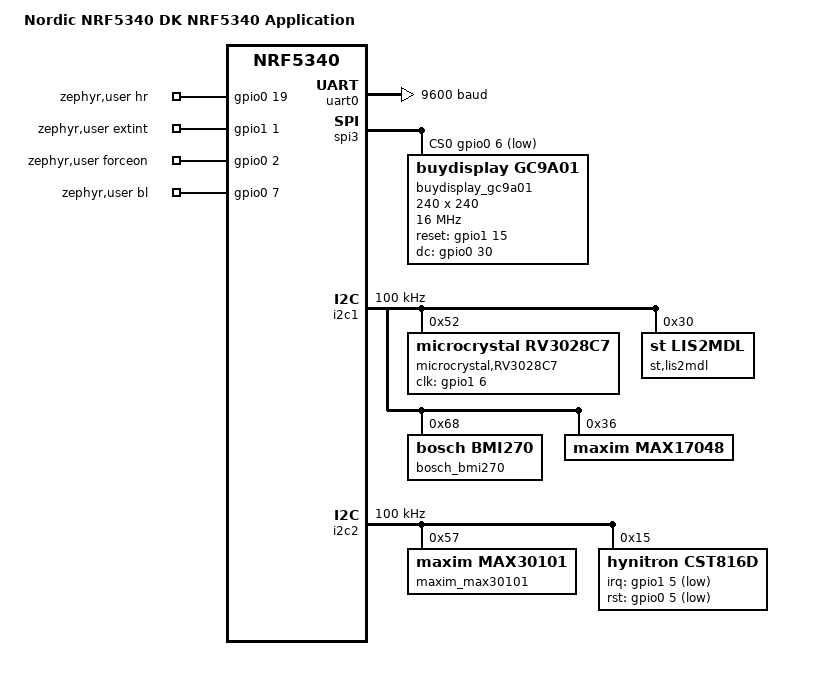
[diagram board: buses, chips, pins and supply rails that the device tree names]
//#include "smartwatch_nrf5340_cpuapp_common_pincontrol.dtsi"


/ {
	model = "Nordic NRF5340 DK NRF5340 Application";
	compatible = "nordic,nrf5340-dk-nrf5340-cpuapp";

	clock-frequency  = <128000000>;

	chosen {
		zephyr,display = &gc9a01;
	};

	
	lvgl_pointer_input: lvgl_pointer {
		compatible = "zephyr,lvgl-pointer-input";
		input = <&cst816d>;
		//swap-xy;
		//invert-x;
	};


	gpio_fwd: nrf-gpio-forwarder {
		compatible = "nordic,nrf-gpio-forwarder";
		uart{
			status = "disabled";
		};
	};

	zephyr,user {
		hr-gpios = <&gpio0 19 GPIO_ACTIVE_HIGH>;
		extint-gpios = <&gpio1 1 GPIO_ACTIVE_HIGH>;
		forceon-gpios = <&gpio0 2 GPIO_ACTIVE_HIGH>;
		bl-gpios = <&gpio0 7 GPIO_ACTIVE_HIGH>;
	};
	
};


&uart0{
	status = "okay";
	current-speed = <9600>;
	label = "UART_0";
	pinctrl-0 = <&uart0_default>;
	pinctrl-1 = <&uart0_sleep>;
	/* 
	gnss: gnss-nmea-generic {
		compatible = "gnss-nmea-generic";
	};
	*/
	
};

&pwm0 {
	status = "disabled";
};


&spi4 {
	status = "disabled";
};

&led2{
	status = "disabled";
};

&spi3  {
	status = "okay";
	compatible = "nordic,nrf-spim";
	pinctrl-0 = <&spi3_default>;
	pinctrl-1 = <&spi3_sleep>;
	pinctrl-names = "default", "sleep";
	cs-gpios = <&gpio0 6 GPIO_ACTIVE_LOW>;

	
	gc9a01: gc9a01@0 {
		compatible = "buydisplay,gc9a01";
		status = "okay";
		spi-max-frequency = <16000000>; // 16MHz
		reg = <0>;
		zephyr,display-P-width = <240>;
		zephyr,display-P-height = <240>;
		width = <240>;
		label = "buydisplay_gc9a01";
		height = <240>;
		reset-gpios = <&gpio1 15 GPIO_ACTIVE_HIGH>;
		dc-gpios = <&gpio0 30 GPIO_ACTIVE_HIGH>;
	};
	
};

 
&i2c1 {
	compatible = "nordic,nrf-twim";
	status = "okay";
	pinctrl-0 = <&i2c1_default>;
	pinctrl-1 = <&i2c1_sleep>;
	pinctrl-names = "default", "sleep";
	clock-frequency = <100000>;
	label = "I2C_1";
	//zephyr,concat-buf-size = <128>;
	zephyr,flash-buf-max-size = < 1024 >;

	
	RV3028C7: RV3028C7@52 { // OR 36
        compatible = "microcrystal,RV3028C7";
        reg = <0x52>;
        label = "microcrystal,RV3028C7";
		clk-gpios = <&gpio1 6 GPIO_ACTIVE_HIGH>;
    };
	 
	lis2mdl@30 {
        compatible = "st,lis2mdl";
        reg = <0x30>;
        label = "st,lis2mdl";
    };
	bmi270@68 {
		compatible = "bosch,bmi270";
		reg = < 0x68 >;
		label = "bosch_bmi270";
	};
	
	max17048@36 {
		compatible = "maxim,max17048";
		reg = <0x36>;
	};
	
};



&i2c2 {
	compatible = "nordic,nrf-twim";
	status = "okay";
	pinctrl-0 = <&i2c2_default>;
	pinctrl-1 = <&i2c2_sleep>;
	pinctrl-names = "default", "sleep";
	clock-frequency = <100000>;
	label = "I2C_2";


	max30101@57 {
		compatible = "maxim,max30101";
		reg = <0x57>;
		label = "maxim_max30101";
	};

	
	cst816d: cst816d@15 {
        compatible = "hynitron,cst816d";
        reg = <0x15>;
        irq-gpios = <&gpio1 5 GPIO_ACTIVE_LOW>;
        rst-gpios = <&gpio0 5 GPIO_ACTIVE_LOW>;
    };
	
};


